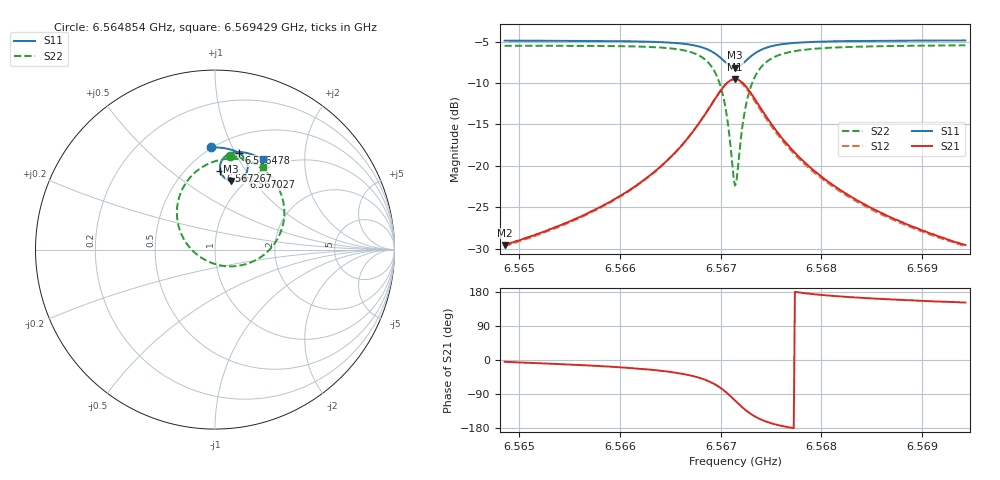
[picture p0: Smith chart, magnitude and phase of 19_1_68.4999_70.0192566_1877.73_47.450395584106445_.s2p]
#  HZ  S  RI  R  50.00
! Rohde & Schwarz Vector Network Analyzer
! Rohde-Schwarz,ZNB20-2Port,1311601062101988,3.16
! Created: UTC 3/20/2024, 4:49:20 PM
! freq[Hz]  re:S11  im:S11  re:S21  im:S21  re:S12  im:S12  re:S22  im:S22
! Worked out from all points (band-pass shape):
!   401 points, 6.564854 GHz to 6.569429 GHz, reference 50 ohm
!   highest |S21| = -9.53 dB at 6.567141 GHz (marker M1); lowest = -29.5 dB at 6.564854 GHz (marker M2)
!   |S21| within 3 dB of the highest: 6.566911 GHz to 6.56737 GHz (458.4 kHz wide, 0.00698 % of centre)
!   lowest |S11| = -8.1 dB at 6.567141 GHz (marker M3), VSWR 2.29, Z = 43.2 + j39 ohm
!   |S11| at or under -10 dB: nowhere
!   |S22| runs from -22.4 to -5.4 dB; largest |S21 - S12| = 0.018
!   S11 on the Smith chart (normalised r, x): 6.564854 GHz: 0.49, +0.83; 6.566478 GHz: 0.66, +1.03; 6.567027 GHz: 0.93, +0.93; 6.567267 GHz: 0.71, +0.77; 6.569429 GHz: 0.86, +1.28
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6.5648539e9  -0.0228 0.5691  0.0332 -0.00275  0.0326 -0.00335  0.0829 0.5235
6.5656202e9  0.0426 0.5663  0.0484 -0.0118  0.0477 -0.0124  0.1634 0.5039
6.5660662e9  0.0853 0.5585  0.0653 -0.0244  0.0644 -0.0252  0.2249 0.4761
6.5663865e9  0.1207 0.5453  0.0859 -0.0453  0.0848 -0.0464  0.2848 0.4331
6.566478e9  0.1321 0.5391  0.094 -0.0557  0.0927 -0.057  0.3058 0.4122
6.5666953e9  0.1615 0.514  0.1163 -0.0994  0.1145 -0.1016  0.361 0.3271
6.5668554e9  0.1801 0.4754  0.1251 -0.1678  0.1217 -0.1719  0.3862 0.1948
6.5669584e9  0.1782 0.4343  0.1031 -0.2403  0.0957 -0.2456  0.3464 0.0565
6.567027e9  0.159 0.4027  0.0548 -0.2942  0.043 -0.2981  0.2547 -0.0423
6.5670842e9  0.1273 0.3835  -0.0134 -0.3239  -0.0291 -0.3233  0.126 -0.091
6.5671185e9  0.1033 0.3801  -0.0631 -0.3263  -0.0795 -0.3215  0.0355 -0.0892
6.5671414e9  0.0867 0.3821  -0.0966 -0.3196  -0.1124 -0.3118  -0.0238 -0.0724
6.5671642e9  0.071 0.3878  -0.1282 -0.3065  -0.1425 -0.296  -0.0779 -0.0441
6.5672214e9  0.0411 0.4137  -0.188 -0.2529  -0.1966 -0.2381  -0.1745 0.0604
6.5672672e9  0.0297 0.4397  -0.2121 -0.2015  -0.2158 -0.1865  -0.2079 0.154
6.5673587e9  0.0327 0.485  -0.2135 -0.1145  -0.2113 -0.1029  -0.1949 0.306
6.5674959e9  0.0603 0.5223  -0.1762 -0.0424  -0.1721 -0.0361  -0.1148 0.4267
6.5676561e9  0.0923 0.5388  -0.1356 -0.00795  -0.1321 -0.0048  -0.0309 0.4808
6.5679077e9  0.1314 0.5441  -0.0952 0.00992  -0.0927 0.0112  0.0574 0.5043
6.5682508e9  0.1711 0.5398  -0.0657 0.0159  -0.0641 0.0164  0.132 0.5042
6.568674e9  0.2105 0.5289  -0.0464 0.0168  -0.0454 0.0173  0.1927 0.4919
6.5694289e9  0.2698 0.5033  -0.0294 0.0159  -0.0287 0.016  0.2684 0.4618
